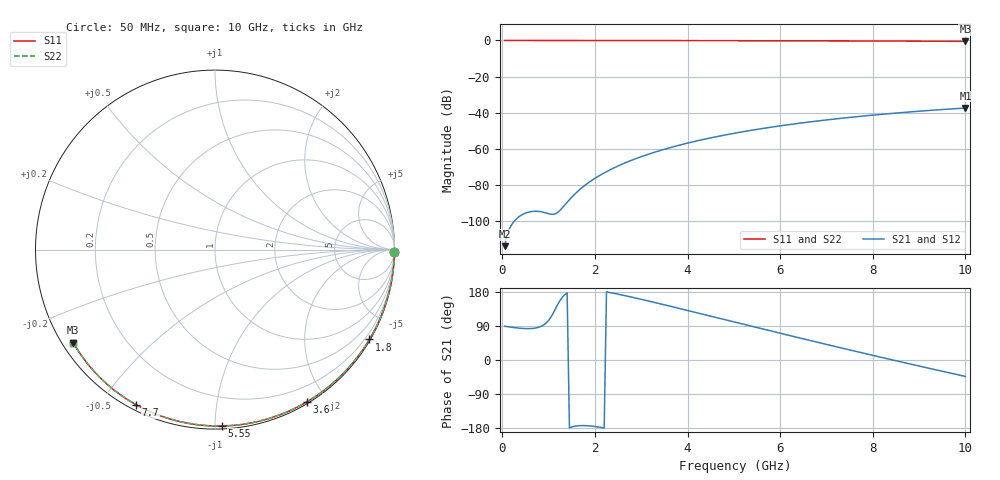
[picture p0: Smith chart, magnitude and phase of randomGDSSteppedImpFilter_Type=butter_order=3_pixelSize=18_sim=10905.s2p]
! freq	dB(S11)	phase(S11)	dB(S12)	phase(S12)
!  dB(S21)	phase(S21)	dB(S22)	phase(S22)
!S-par simulation data
#  GHz  S  DB  R 50
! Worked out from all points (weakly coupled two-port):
!   200 points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, 50 MHz to 10 GHz, reference 50 ohm
!   highest |S21| = -37.43 dB at 10 GHz (marker M1); lowest = -113.9 dB at 50 MHz (marker M2)
!   lowest |S11| = -0.5 dB at 10 GHz (marker M3), VSWR 35.19, Z = 1.55 - j14.9 ohm
!   |S11| at or under -10 dB: nowhere
!   |S22| runs from -0.5 to 0.0 dB; largest |S21 - S12| = 0
!   S11 on the Smith chart (normalised r, x): 50 MHz: open; 1.8 GHz: 0.03, -3.71; 3.6 GHz: 0.02, -1.77; 5.55 GHz: 0.02, -1.04; 7.7 GHz: 0.02, -0.61; 10 GHz: 0.03, -0.30
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0.05  -0.00 -0.9  -113.95 89.1  -113.95 89.1  -0.00 -0.9
0.45  -0.01 -7.7  -96.23 83.2  -96.23 83.2  -0.01 -7.7
0.9  -0.02 -15.3  -95.24 93.1  -95.24 93.1  -0.02 -15.3
1.3  -0.03 -21.9  -92.65 166.1  -92.65 166.1  -0.03 -21.9
1.75  -0.04 -29.4  -80.93 -173.0  -80.93 -173.0  -0.04 -29.4
1.8  -0.04 -30.2  -79.93 -173.2  -79.93 -173.2  -0.04 -30.2
1.95  -0.04 -32.7  -77.21 -174.7  -77.21 -174.7  -0.04 -32.7
2.1  -0.04 -35.1  -74.83 -177.2  -74.83 -177.2  -0.04 -35.1
2.3  -0.05 -38.4  -72.01 178.6  -72.01 178.6  -0.05 -38.4
2.5  -0.05 -41.6  -69.53 173.7  -69.53 173.7  -0.05 -41.6
2.9  -0.06 -48.0  -65.32 163.0  -65.32 163.0  -0.06 -48.0
3.4  -0.07 -55.8  -61.03 148.6  -61.03 148.6  -0.07 -55.8
3.6  -0.08 -58.9  -59.54 142.7  -59.54 142.7  -0.08 -58.9
4.3  -0.10 -69.5  -55.06 121.7  -55.06 121.7  -0.10 -69.5
5.05  -0.12 -80.5  -51.21 99.1  -51.21 99.1  -0.12 -80.5
5.55  -0.14 -87.7  -49.04 84.0  -49.04 84.0  -0.14 -87.7
6.1  -0.17 -95.4  -46.94 67.6  -46.94 67.6  -0.17 -95.4
6.7  -0.20 -103.6  -44.93 49.9  -44.93 49.9  -0.20 -103.6
7.7  -0.27 -116.9  -42.10 20.8  -42.10 20.8  -0.27 -116.9
8.35  -0.32 -125.4  -40.55 2.3  -40.55 2.3  -0.32 -125.4
9.2  -0.40 -136.4  -38.81 -21.5  -38.81 -21.5  -0.40 -136.4
10  -0.49 -146.7  -37.43 -43.3  -37.43 -43.3  -0.49 -146.7
